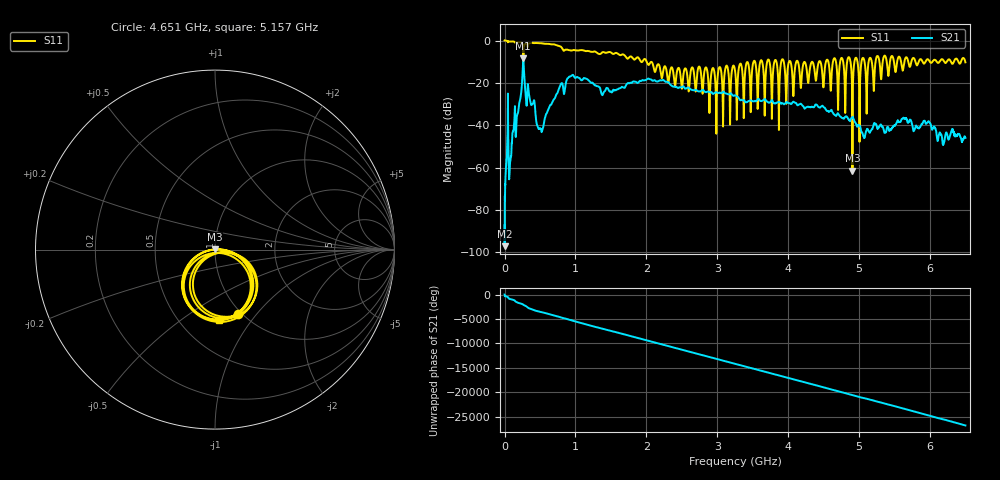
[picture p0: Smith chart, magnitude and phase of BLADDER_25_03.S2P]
!Keysight Technologies,E5063A,MY54503115,A.05.08
!Date: Sun Feb 04 18:19:40 2024
!Data & Calibration Information:
!Freq	S11:NONE(--)	S21:NONE(--)	S12:NONE(--)	S22:NONE(--)
# Hz S dB R 50
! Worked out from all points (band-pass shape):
!   10001 points, 100 kHz to 6.5 GHz, reference 50 ohm
!   highest |S21| = -8.46 dB at 263.3 MHz (marker M1); lowest = -97.1 dB at 1.4 MHz (marker M2)
!   |S21| within 3 dB of the highest: 258.2 MHz to 268.4 MHz (10.15 MHz wide, 3.85 % of centre)
!   lowest |S11| = -61.4 dB at 4.907 GHz (marker M3), VSWR 1.00, Z = 50 + j0.0691 ohm
!   |S11| at or under -10 dB: 2.005 GHz to 3.511 GHz (1.506 GHz wide, 54.6 % of centre); 4.137 GHz to 4.338 GHz (200.9 MHz wide, 4.74 % of centre); 4.339 GHz to 4.434 GHz (94.76 MHz wide, 2.16 % of centre) (the widest 3 of 31)
!   S12 and S22 are empty: the file has one direction only
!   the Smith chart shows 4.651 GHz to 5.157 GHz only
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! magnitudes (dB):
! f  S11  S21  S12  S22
! 100 kHz  0.0  -87.2  -  -
! 1.4 MHz  0.0  -97.1  -  -
! 35.85 MHz  -0.2  -49.8  -  -
! 88.5 MHz  -0.5  -54.6  -  -
! 263.3 MHz  -7.3  -8.5  -  -
! 507.7 MHz  -1.2  -41.7  -  -
! 787.9 MHz  -2.8  -20.9  -  -
! 1.084 GHz  -4.5  -18.8  -  -
! 1.388 GHz  -5.4  -25.3  -  -
! 2.167 GHz  -11.2  -19.2  -  -
! 3.25 GHz  -14.1  -25.8  -  -
! 4.334 GHz  -10.1  -31.2  -  -
! 4.804 GHz  -34.0  -36.0  -  -
! 4.856 GHz  -7.8  -37.3  -  -
! 4.907 GHz  -61.4  -36.0  -  -
! 4.956 GHz  -8.1  -39.2  -  -
! 5.005 GHz  -33.3  -40.1  -  -
! 5.056 GHz  -8.2  -44.6  -  -
! 5.104 GHz  -27.7  -42.4  -  -
! 5.417 GHz  -16.0  -41.6  -  -
! 5.639 GHz  -10.0  -36.9  -  -
! 6.5 GHz  -10.3  -45.9  -  -
